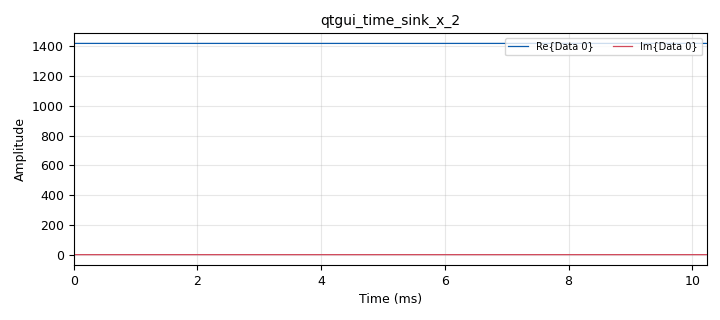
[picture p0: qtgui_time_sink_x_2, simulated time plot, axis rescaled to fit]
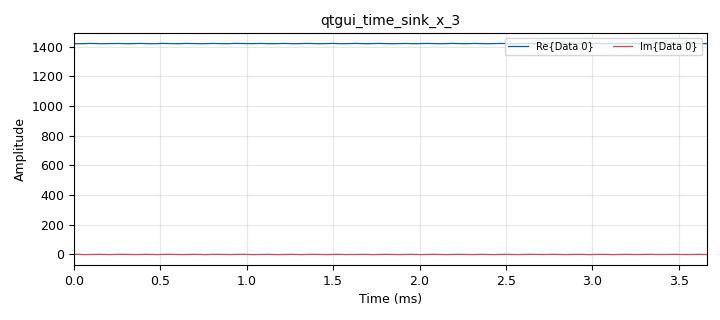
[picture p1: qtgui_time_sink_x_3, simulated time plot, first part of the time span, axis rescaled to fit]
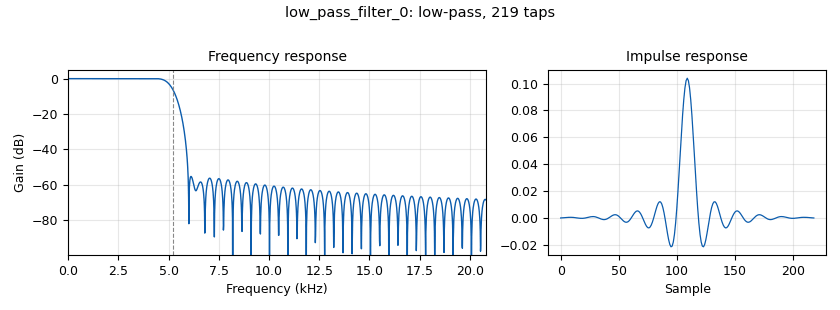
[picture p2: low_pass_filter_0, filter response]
options:
  parameters:
    author: gnnkt
    generate_options: qt_gui
    id: pat4_sine
    output_language: python
    title: Not titled yet
  states: {}

blocks:
- name: samp_rate
  id: variable
  parameters:
    value: '100000'
  states: {}
- name: analog_noise_source_x_0_0
  id: analog_noise_source_x
  parameters:
    amp: '0.2'
    noise_type: analog.GR_GAUSSIAN
    seed: '0'
    type: complex
  states: {}
- name: analog_sig_source_x_0_0
  id: analog_sig_source_x
  parameters:
    amp: '1'
    freq: '7200'
    offset: '1420'
    phase: '0'
    samp_rate: samp_rate
    type: complex
    waveform: analog.GR_COS_WAVE
  states: {}
- name: blocks_add_xx_0
  id: blocks_add_xx
  parameters:
    type: complex
  states: {}
- name: low_pass_filter_0
  id: low_pass_filter
  parameters:
    cutoff_freq: '5200'
    decim: '1'
    gain: '1'
    samp_rate: samp_rate
    type: fir_filter_ccf
    width: '1100'
    win: window.WIN_HAMMING
  states: {}
- name: qtgui_time_sink_x_2
  id: qtgui_time_sink_x
  parameters:
    size: '1024'
    srate: samp_rate
    type: complex
  states: {}
- name: qtgui_time_sink_x_3
  id: qtgui_time_sink_x
  parameters:
    size: '1024'
    srate: samp_rate
    type: complex
  states: {}

connections:
- [analog_noise_source_x_0_0, '0', blocks_add_xx_0, '0']
- [analog_sig_source_x_0_0, '0', blocks_add_xx_0, '1']
- [blocks_add_xx_0, '0', low_pass_filter_0, '0']
- [blocks_add_xx_0, '0', qtgui_time_sink_x_3, '0']
- [low_pass_filter_0, '0', qtgui_time_sink_x_2, '0']

metadata:
  file_format: 1
  grc_version: 3.10.12.0
